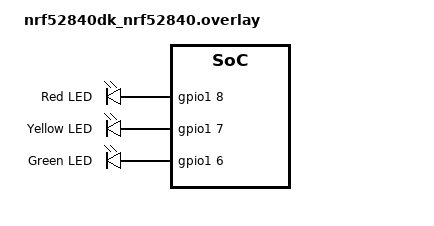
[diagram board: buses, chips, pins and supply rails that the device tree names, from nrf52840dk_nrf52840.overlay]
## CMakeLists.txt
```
cmake_minimum_required(VERSION 3.20.0)
find_package(Zephyr REQUIRED HINTS $ENV{ZEPHYR_BASE})

project(TrfafficLight_FSM)

target_sources(app PRIVATE src/main.c)
```

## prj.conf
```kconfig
CONFIG_GPIO=y
CONFIG_SMF=y
```

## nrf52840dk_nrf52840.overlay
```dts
/{
    leds{
        ledred: led_red{
            gpios = <&gpio1 8 GPIO_ACTIVE_HIGH>;
            label = "Red LED";  
        };

        ledyellow: led_yellow{
            gpios = <&gpio1 7 GPIO_ACTIVE_HIGH>; 
            label = "Yellow LED"; 
        };

        ledgreen: led_green {
            gpios = <&gpio1 6 GPIO_ACTIVE_HIGH>; 
        label = "Green LED"; 
        };
    };
};
```

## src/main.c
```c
//#include<zephyr/zephyr.h>
#include <zephyr/kernel.h>
#include<zephyr/drivers/gpio.h>
#include <zephyr/smf.h>

#define RED_SLEEP_TIME_MS 		2000
#define RED_YELLOW_SLEEP_TIME_MS	500
#define GREEN_SLEEP_TIME_MS		2000
#define YELLOW_SLEEP_TIME_MS		500

#define RED_NODE DT_NODELABEL(ledred)
#define YELLOW_NODE DT_NODELABEL(ledyellow)
#define GREEN_NODE DT_NODELABEL(ledgreen)

static const struct gpio_dt_spec ledred_spec = GPIO_DT_SPEC_GET(RED_NODE, gpios);
static const struct gpio_dt_spec ledyellow_spec = GPIO_DT_SPEC_GET(YELLOW_NODE, gpios);
static const struct gpio_dt_spec ledgreen_spec = GPIO_DT_SPEC_GET(GREEN_NODE, gpios);

int32_t sleep_msec = 0; 

/* forward declaration of state table */
static const struct smf_state states[]; 

/* list of traffic light App staets*/
enum state{
        INIT, 
        RED, 
        RED_YELLOW, 
        GREEN, 
        YELLOW
};

/* User defined object*/
struct s_object{
        /* this must be the first attribute*/
        struct smf_ctx ctx;  
}s_obj;

/* state INIT*/
static void init_run(void *o){
        printk("INIT\n");
        gpio_pin_configure_dt(&ledred_spec, GPIO_OUTPUT);
        gpio_pin_configure_dt(&ledyellow_spec, GPIO_OUTPUT);
        gpio_pin_configure_dt(&ledgreen_spec, GPIO_OUTPUT);
        sleep_msec = 0; 
        smf_set_state(SMF_CTX(&s_obj), &states[RED]); // Setting the next state
}

/* state RED*/
static void red_run (void *o){
        printk("Red\n");
        gpio_pin_set_dt(&ledred_spec, 1);
        gpio_pin_set_dt(&ledyellow_spec, 0);
        gpio_pin_set_dt(&ledgreen_spec, 0);
        sleep_msec = RED_SLEEP_TIME_MS; 
        smf_set_state(SMF_CTX(&s_obj), &states[RED_YELLOW]);  
}

/* state RED_YELLOW*/
static void red_yellow_run (void *o){
        printk("Red Yellow\n");
        gpio_pin_set_dt(&ledred_spec, 1);
        gpio_pin_set_dt(&ledyellow_spec, 1);
        gpio_pin_set_dt(&ledgreen_spec, 0);
        sleep_msec = RED_YELLOW_SLEEP_TIME_MS; 
        smf_set_state(SMF_CTX(&s_obj), &states[GREEN]);   
}

/* state GREEN*/
static void green_run(void *o){
        printk ("Green\n");
        gpio_pin_set_dt(&ledred_spec, 0);
        gpio_pin_set_dt(&ledyellow_spec, 0);
        gpio_pin_set_dt(&ledgreen_spec, 1);
        sleep_msec = GREEN_SLEEP_TIME_MS; 
        smf_set_state(SMF_CTX(&s_obj), &states[YELLOW]);  
}

/* state YELLOW*/
static void yellow_run (void *o){
        printk("Yellow\n");
        gpio_pin_set_dt(&ledred_spec, 0);
        gpio_pin_set_dt(&ledyellow_spec, 1);
        gpio_pin_set_dt(&ledgreen_spec, 0);
        sleep_msec = GREEN_SLEEP_TIME_MS; 
        smf_set_state(SMF_CTX(&s_obj), &states[RED]);   
}

/* Populate the states table */
static const struct smf_state states[] = {
        [INIT] = SMF_CREATE_STATE (NULL, init_run, NULL),  // The first NULL is for Entry function 
        [RED] = SMF_CREATE_STATE (NULL, red_run, NULL),    // and the third NULL is for the Exit function 
        [RED_YELLOW] = SMF_CREATE_STATE (NULL, red_yellow_run, NULL), // Which we're not using in this application 
        [GREEN] = SMF_CREATE_STATE (NULL, green_run, NULL), 
        [YELLOW] = SMF_CREATE_STATE (NULL, yellow_run, NULL)   
}; 

int main () {
        int32_t ret; 

        /* set the initial state */
        smf_set_initial(SMF_CTX(&s_obj), &states[INIT]);

	while (1){
                ret = smf_run_state(SMF_CTX(&s_obj));
                if (ret){
                        break;
                } 
                k_msleep(sleep_msec); 
	}
	return 0; 
}
```
